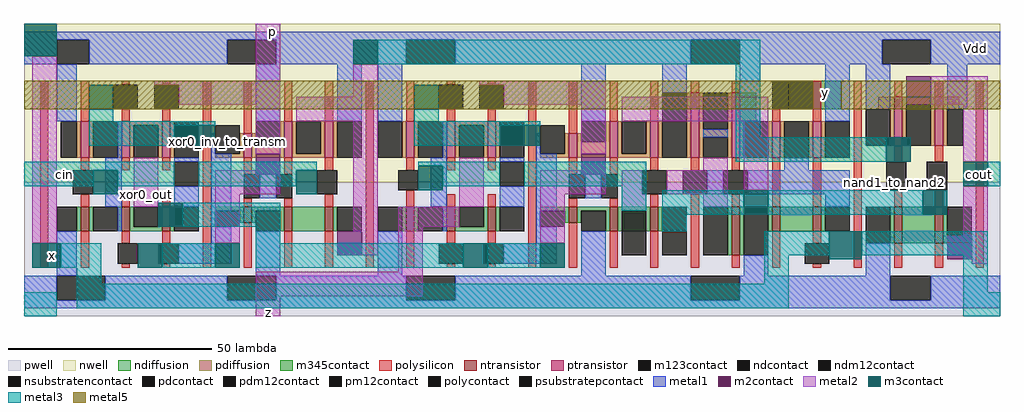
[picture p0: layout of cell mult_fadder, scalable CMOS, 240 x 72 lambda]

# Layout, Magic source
magic
tech scmos
<< nwell >>
rect 6 41 246 80
<< pwell >>
rect 6 8 246 41
<< ntransistor >>
rect 20 29 22 35
rect 30 29 32 35
rect 40 29 42 35
rect 60 31 62 35
rect 70 29 72 35
rect 80 29 82 35
rect 100 29 102 35
rect 110 29 112 35
rect 120 29 122 35
rect 140 31 142 35
rect 150 29 152 35
rect 160 29 162 35
rect 180 23 182 35
rect 190 29 192 35
rect 200 29 202 35
rect 220 26 222 35
rect 230 26 232 35
<< ptransistor >>
rect 20 47 22 56
rect 30 47 32 56
rect 40 47 42 56
rect 60 47 62 53
rect 70 47 72 56
rect 80 47 82 56
rect 100 47 102 56
rect 110 47 112 56
rect 120 47 122 56
rect 140 47 142 53
rect 150 47 152 56
rect 160 47 162 56
rect 170 47 172 63
rect 180 47 182 63
rect 190 47 192 56
rect 200 47 202 56
rect 220 50 222 62
rect 230 50 232 62
<< ndiffusion >>
rect 19 29 20 35
rect 22 29 23 35
rect 29 29 30 35
rect 32 30 33 35
rect 39 30 40 35
rect 32 29 40 30
rect 42 29 43 35
rect 53 34 60 35
rect 59 31 60 34
rect 62 34 70 35
rect 62 31 63 34
rect 69 29 70 34
rect 72 29 80 35
rect 82 29 83 35
rect 99 29 100 35
rect 102 29 103 35
rect 109 29 110 35
rect 112 30 113 35
rect 119 30 120 35
rect 112 29 120 30
rect 122 29 123 35
rect 133 34 140 35
rect 139 31 140 34
rect 142 34 150 35
rect 142 31 143 34
rect 149 29 150 34
rect 152 29 160 35
rect 162 29 163 35
rect 179 23 180 35
rect 182 23 183 35
rect 189 29 190 35
rect 192 29 200 35
rect 202 29 203 35
rect 219 26 220 35
rect 222 26 230 35
rect 232 28 233 35
rect 232 26 239 28
<< pdiffusion >>
rect 19 47 20 56
rect 22 47 23 56
rect 29 47 30 56
rect 32 55 40 56
rect 32 47 33 55
rect 39 47 40 55
rect 42 47 43 56
rect 59 48 60 53
rect 53 47 60 48
rect 62 51 63 53
rect 69 51 70 56
rect 62 47 70 51
rect 72 48 73 56
rect 79 48 80 56
rect 72 47 80 48
rect 82 47 83 56
rect 99 47 100 56
rect 102 47 103 56
rect 109 47 110 56
rect 112 55 120 56
rect 112 47 113 55
rect 119 47 120 55
rect 122 47 123 56
rect 139 48 140 53
rect 133 47 140 48
rect 142 51 143 53
rect 149 51 150 56
rect 142 47 150 51
rect 152 48 153 56
rect 159 48 160 56
rect 152 47 160 48
rect 162 47 163 56
rect 169 47 170 63
rect 172 54 173 63
rect 179 54 180 63
rect 172 52 180 54
rect 172 47 173 52
rect 179 47 180 52
rect 182 56 186 63
rect 182 47 183 56
rect 189 47 190 56
rect 192 47 193 56
rect 199 47 200 56
rect 202 47 203 56
rect 216 59 220 62
rect 219 50 220 59
rect 222 60 230 62
rect 222 50 223 60
rect 229 50 230 60
rect 232 59 236 62
rect 232 50 233 59
<< ndcontact >>
rect 14 29 19 35
rect 23 29 29 35
rect 43 29 49 35
rect 53 30 59 34
rect 63 29 69 34
rect 83 29 89 35
rect 93 29 99 35
rect 103 29 109 35
rect 123 29 129 35
rect 133 30 139 34
rect 143 29 149 34
rect 163 29 169 35
rect 183 23 189 35
rect 203 29 209 35
rect 213 26 219 35
rect 233 28 239 35
<< pdcontact >>
rect 15 47 19 56
rect 23 47 29 56
rect 43 47 49 56
rect 63 51 69 56
rect 83 47 89 56
rect 93 47 99 56
rect 103 47 109 56
rect 123 47 129 56
rect 143 51 149 56
rect 163 47 169 63
rect 173 54 179 63
rect 183 47 189 56
rect 193 47 199 56
rect 203 47 209 56
rect 213 50 219 59
rect 223 50 229 60
rect 233 50 237 59
<< psubstratepcontact >>
rect 14 12 26 18
rect 56 12 68 18
rect 100 12 112 18
rect 170 12 182 18
rect 219 12 229 18
<< nsubstratencontact >>
rect 14 70 22 76
rect 56 70 68 76
rect 100 70 112 76
rect 170 70 182 76
rect 217 70 229 76
<< polysilicon >>
rect 10 20 12 66
rect 20 56 22 66
rect 30 65 32 66
rect 40 65 42 66
rect 30 56 32 59
rect 40 56 42 59
rect 20 44 22 47
rect 30 44 32 47
rect 40 44 42 47
rect 20 35 22 38
rect 30 35 32 38
rect 40 35 42 38
rect 20 20 22 29
rect 30 26 32 29
rect 40 26 42 29
rect 30 20 32 21
rect 40 20 42 21
rect 50 20 52 66
rect 60 53 62 66
rect 70 56 72 66
rect 80 56 82 66
rect 60 43 62 47
rect 70 43 72 47
rect 80 44 82 47
rect 60 35 62 37
rect 70 35 72 37
rect 80 35 82 38
rect 60 20 62 31
rect 70 20 72 29
rect 80 20 82 29
rect 90 20 92 66
rect 100 56 102 66
rect 110 65 112 66
rect 120 65 122 66
rect 110 56 112 59
rect 120 56 122 59
rect 100 44 102 47
rect 110 44 112 47
rect 120 44 122 47
rect 100 35 102 39
rect 110 35 112 38
rect 120 35 122 38
rect 100 20 102 29
rect 110 26 112 29
rect 120 26 122 29
rect 110 20 112 21
rect 120 20 122 21
rect 130 20 132 66
rect 140 53 142 66
rect 150 56 152 66
rect 160 56 162 66
rect 170 63 172 66
rect 180 63 182 66
rect 190 56 192 59
rect 200 56 202 66
rect 140 43 142 47
rect 150 43 152 47
rect 160 44 162 47
rect 170 44 172 47
rect 180 44 182 47
rect 140 35 142 37
rect 150 35 152 37
rect 160 35 162 38
rect 140 20 142 31
rect 150 20 152 29
rect 160 20 162 29
rect 170 20 172 38
rect 180 35 182 38
rect 190 35 192 47
rect 200 35 202 47
rect 180 20 182 23
rect 190 20 192 29
rect 200 26 202 29
rect 200 20 202 21
rect 210 20 212 66
rect 220 62 222 66
rect 230 62 232 66
rect 220 46 222 50
rect 230 46 232 50
rect 220 35 222 39
rect 230 35 232 39
rect 220 20 222 26
rect 230 20 232 26
rect 240 20 242 66
<< polycontact >>
rect 39 21 44 26
rect 60 37 64 43
rect 68 37 72 43
rect 119 21 124 26
rect 190 59 194 66
rect 140 37 144 43
rect 148 37 152 43
rect 168 38 174 44
rect 178 38 184 44
<< metal1 >>
rect 6 76 246 78
rect 6 70 14 76
rect 22 70 56 76
rect 68 70 100 76
rect 112 70 170 76
rect 182 70 217 76
rect 229 70 246 76
rect 14 56 19 70
rect 63 56 69 70
rect 83 56 89 70
rect 29 47 30 56
rect 26 35 30 47
rect 43 46 49 47
rect 43 35 49 40
rect 29 29 30 35
rect 52 48 53 53
rect 52 34 57 48
rect 93 56 99 70
rect 143 56 149 70
rect 163 63 169 70
rect 109 47 110 56
rect 64 37 68 43
rect 106 35 110 47
rect 123 46 129 47
rect 123 35 129 40
rect 52 30 53 34
rect 14 18 19 29
rect 52 26 57 30
rect 44 21 57 26
rect 63 18 69 29
rect 109 29 110 35
rect 132 48 133 53
rect 132 34 137 48
rect 173 52 179 54
rect 182 56 187 70
rect 203 56 209 70
rect 182 47 183 56
rect 213 59 219 70
rect 233 59 238 70
rect 193 44 199 47
rect 144 37 148 43
rect 174 38 178 44
rect 184 38 209 44
rect 203 35 209 38
rect 132 30 133 34
rect 93 18 99 29
rect 132 26 137 30
rect 124 21 137 26
rect 143 18 149 29
rect 183 18 189 23
rect 213 18 219 26
rect 6 12 14 18
rect 26 12 56 18
rect 68 12 100 18
rect 112 12 170 18
rect 182 12 219 18
rect 229 12 246 18
rect 6 10 246 12
<< m2contact >>
rect 63 43 69 48
rect 83 23 89 29
rect 143 43 149 48
rect 223 60 229 67
rect 233 22 239 28
<< pm12contact >>
rect 28 59 34 65
rect 38 59 44 65
rect 18 38 23 44
rect 108 59 114 65
rect 118 59 124 65
rect 78 38 83 44
rect 98 39 103 44
rect 29 21 34 26
rect 158 38 164 44
rect 218 39 223 46
rect 228 39 233 46
rect 108 21 114 26
rect 198 21 204 26
<< pdm12contact >>
rect 33 47 39 55
rect 53 48 59 55
rect 73 48 79 56
rect 113 47 119 55
rect 133 48 139 55
rect 153 48 159 56
rect 173 47 179 52
<< ndm12contact >>
rect 33 30 39 35
rect 113 30 119 35
rect 173 23 179 35
<< metal2 >>
rect 8 26 14 72
rect 63 66 69 80
rect 38 65 69 66
rect 44 60 69 65
rect 87 62 93 70
rect 118 65 149 66
rect 63 48 69 60
rect 73 56 93 62
rect 124 60 149 65
rect 33 35 39 47
rect 53 43 63 44
rect 53 38 69 43
rect 53 26 59 38
rect 87 29 93 56
rect 143 48 149 60
rect 153 56 189 62
rect 229 60 243 67
rect 113 35 119 47
rect 133 43 143 44
rect 173 44 179 47
rect 89 23 93 29
rect 98 30 113 35
rect 133 38 149 43
rect 153 38 158 44
rect 164 38 179 44
rect 98 19 104 30
rect 133 26 139 38
rect 153 34 159 38
rect 173 35 179 38
rect 183 39 189 56
rect 237 46 243 60
rect 237 28 243 40
rect 239 21 243 28
rect 63 13 104 19
rect 63 8 69 13
<< m3contact >>
rect 6 72 14 80
rect 22 59 28 65
rect 87 70 93 76
rect 43 50 53 55
rect 102 59 108 65
rect 23 38 29 44
rect 73 38 78 44
rect 39 30 45 36
rect 123 50 133 55
rect 103 39 109 45
rect 8 20 15 26
rect 34 20 40 26
rect 53 20 59 26
rect 114 20 120 26
rect 133 20 139 26
rect 218 46 224 52
rect 183 33 189 39
rect 227 33 233 39
rect 237 40 243 46
rect 204 22 212 29
<< m123contact >>
rect 43 40 49 46
rect 194 59 200 66
rect 123 40 129 46
rect 153 23 159 34
rect 163 23 169 29
<< metal3 >>
rect 93 70 187 76
rect 22 56 28 59
rect 102 56 108 59
rect 22 55 53 56
rect 22 50 43 55
rect 102 55 133 56
rect 102 50 123 55
rect 181 52 187 70
rect 181 46 218 52
rect 6 44 43 46
rect 6 40 23 44
rect 29 40 43 44
rect 49 44 78 46
rect 49 40 73 44
rect 103 45 123 46
rect 109 40 123 45
rect 129 40 159 46
rect 243 40 246 46
rect 45 30 69 36
rect 63 26 69 30
rect 153 34 159 40
rect 15 20 25 26
rect 40 20 53 26
rect 63 20 114 26
rect 120 20 133 26
rect 163 33 183 39
rect 189 33 227 39
rect 163 29 169 33
rect 188 23 204 29
rect 19 16 25 20
rect 188 16 194 23
rect 212 23 243 29
rect 6 8 14 14
rect 19 10 194 16
rect 237 14 243 23
rect 237 8 246 14
<< m345contact >>
rect 200 59 207 66
<< metal5 >>
rect 6 59 200 66
rect 207 59 246 66
<< labels >>
rlabel metal2 67 78 67 78 5 p
rlabel metal2 36 38 36 38 1 xor0_out
rlabel metal2 66 9 66 9 1 z
rlabel m3contact 241 43 241 43 7 cout
rlabel metal3 16 43 16 43 1 cin
rlabel m345contact 203 63 203 63 1 y
rlabel metal1 240 74 240 74 7 Vdd
rlabel m3contact 13 23 13 23 1 x
rlabel pm12contact 231 42 231 42 1 nand0_to_nand2
rlabel pm12contact 220 41 220 41 1 nand1_to_nand2
rlabel pdm12contact 56 51 56 51 1 xor0_inv_to_transm
<< end >>
